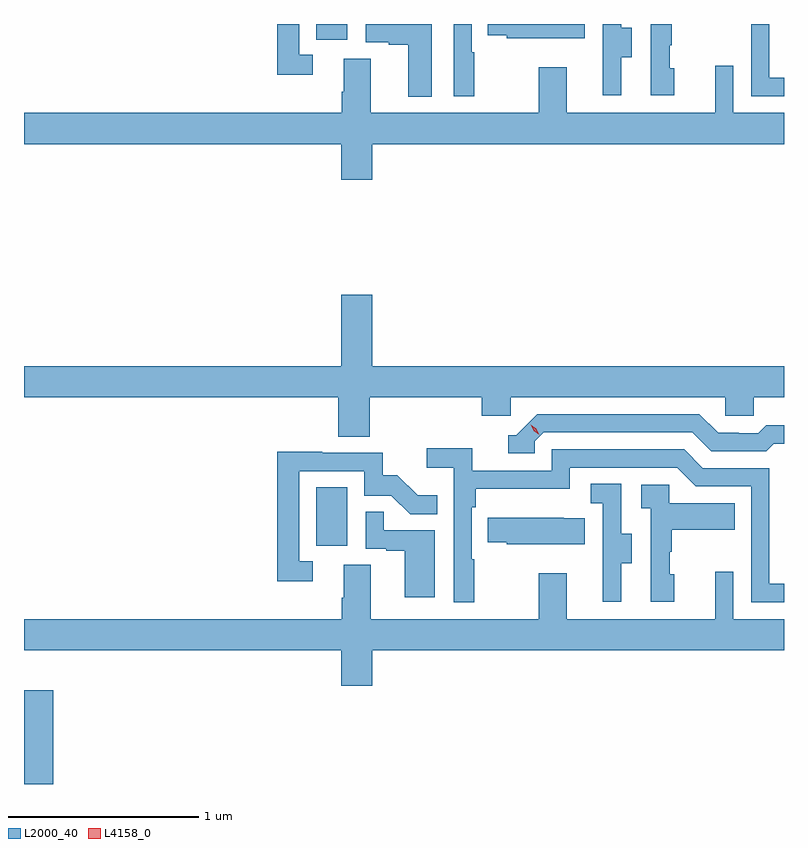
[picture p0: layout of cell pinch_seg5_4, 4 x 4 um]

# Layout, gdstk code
import gdstk
lib = gdstk.Library(unit=1e-6, precision=1e-09)
def R(c, l, rs):  # rectangles x0, y0, x1, y1
    for r in rs: c.add(gdstk.rectangle(r[:2], r[2:], *l))
def P(c, l, *ps):  # polygons
    for p in ps: c.add(gdstk.Polygon(p, *l))
L2000_40 = (2000, 40)
L4158_0 = (4158, 0)

pinch_seg5_4 = lib.new_cell('pinch_seg5_4')
R(pinch_seg5_4, L2000_40, [(1140.361,893.352,1140.514,893.845), (1141.898,894.606,1142.062,894.913), (1141.898,897.27,1142.062,897.352)])
P(pinch_seg5_4, L2000_40, [(1144.361,897.069),(1144.284,897.069),(1144.284,897.352),(1144.188,897.352),(1144.188,896.973),(1144.361,896.973)],
  [(1142.731,897.203),(1142.718,897.203),(1142.718,897.352),(1142.622,897.352),(1142.622,896.973),(1142.731,896.973)],
  [(1142.506,897.351),(1142.255,897.351),(1142.255,897.352),(1142.16,897.352),(1142.16,897.255),(1142.281,897.255),(1142.281,897.243),(1142.384,897.243),(1142.384,896.969),(1142.506,896.969)],
  [(1143.784,897.12),(1143.759,897.12),(1143.759,897.239),(1143.769,897.239),(1143.769,897.352),(1143.66,897.352),(1143.66,896.976),(1143.784,896.976)],
  [(1143.505,897.178),(1143.559,897.178),(1143.559,897.333),(1143.504,897.333),(1143.504,897.352),(1143.408,897.352),(1143.408,897.189),(1143.407,897.189),(1143.407,896.976),(1143.505,896.976)],
  [(1141.882,897.189),(1141.809,897.189),(1141.809,897.352),(1141.693,897.352),(1141.693,897.084),(1141.882,897.084)],
  [(1143.311,897.352),(1142.803,897.352),(1142.803,897.292),(1142.901,897.292),(1142.901,897.278),(1143.311,897.278)],
  [(1142.194,896.72),(1144.361,896.72),(1144.361,896.884),(1144.095,896.884),(1144.095,897.133),(1143.998,897.133),(1143.998,896.884),(1143.217,896.884),(1143.217,897.124),(1143.07,897.124),(1143.07,896.884),(1142.185,896.884),(1142.185,897.17),(1142.045,897.17),(1142.045,896.996),(1142.033,896.996),(1142.033,896.884),(1140.361,896.884),(1140.361,896.72),(1142.03,896.72),(1142.03,896.532),(1142.194,896.532)],
  [(1142.18,895.388),(1142.771,895.388),(1142.771,895.29),(1142.922,895.29),(1142.922,895.388),(1144.053,895.388),(1144.053,895.29),(1144.203,895.29),(1144.203,895.388),(1144.361,895.388),(1144.361,895.552),(1142.194,895.552),(1142.194,895.927),(1142.03,895.927),(1142.03,895.552),(1140.361,895.552),(1140.361,895.388),(1142.015,895.388),(1142.015,895.18),(1142.18,895.18)],
  [(1143.048,895.155),(1143.096,895.203),(1143.879,895.203),(1143.978,895.104),(1144.267,895.104),(1144.306,895.143),(1144.361,895.143),(1144.361,895.24),(1144.267,895.24),(1144.225,895.197),(1144.122,895.197),(1144.122,895.2),(1144.015,895.2),(1143.916,895.299),(1143.063,895.299),(1142.952,895.188),(1142.909,895.188),(1142.909,895.092),(1143.048,895.092)],
  [(1142.731,894.536),(1142.718,894.536),(1142.718,894.809),(1142.738,894.809),(1142.738,894.905),(1143.234,894.905),(1143.234,895.017),(1143.798,895.017),(1143.897,894.918),(1144.188,894.918),(1144.188,894.309),(1144.361,894.309),(1144.361,894.405),(1144.284,894.405),(1144.284,895.014),(1143.934,895.014),(1143.835,895.113),(1143.138,895.113),(1143.138,895.002),(1142.72,895.002),(1142.72,895.118),(1142.481,895.118),(1142.481,895.016),(1142.622,895.016),(1142.622,894.309),(1142.731,894.309)],
  [(1141.882,894.525),(1141.809,894.525),(1141.809,894.999),(1142.151,894.999),(1142.151,894.87),(1142.295,894.87),(1142.393,894.772),(1142.537,894.772),(1142.537,894.871),(1142.433,894.871),(1142.326,894.978),(1142.25,894.978),(1142.25,895.095),(1141.931,895.095),(1141.931,895.1),(1141.693,895.1),(1141.693,894.42),(1141.882,894.42)],
  [(1143.505,894.514),(1143.559,894.514),(1143.559,894.669),(1143.504,894.669),(1143.504,894.932),(1143.345,894.932),(1143.345,894.829),(1143.408,894.829),(1143.408,894.525),(1143.407,894.525),(1143.407,894.312),(1143.505,894.312)],
  [(1143.784,894.456),(1143.759,894.456),(1143.759,894.575),(1143.769,894.575),(1143.769,894.689),(1144.103,894.689),(1144.103,894.829),(1143.756,894.829),(1143.756,894.927),(1143.609,894.927),(1143.609,894.803),(1143.66,894.803),(1143.66,894.312),(1143.784,894.312)],
  [(1142.524,894.687),(1142.255,894.687),(1142.255,894.785),(1142.16,894.785),(1142.16,894.591),(1142.267,894.591),(1142.267,894.579),(1142.366,894.579),(1142.366,894.336),(1142.524,894.336)],
  [(1143.311,894.751),(1143.203,894.751),(1143.203,894.754),(1142.803,894.754),(1142.803,894.625),(1142.901,894.625),(1142.901,894.614),(1143.311,894.614)],
  [(1142.194,894.056),(1144.361,894.056),(1144.361,894.22),(1144.095,894.22),(1144.095,894.469),(1143.998,894.469),(1143.998,894.22),(1143.217,894.22),(1143.217,894.46),(1143.07,894.46),(1143.07,894.22),(1142.185,894.22),(1142.185,894.506),(1142.045,894.506),(1142.045,894.332),(1142.033,894.332),(1142.033,894.22),(1140.361,894.22),(1140.361,894.056),(1142.03,894.056),(1142.03,893.868),(1142.194,893.868)])
P(pinch_seg5_4, L4158_0, [(1143.073,895.19),(1143.043,895.21),(1143.027,895.243),(1143.027,895.243),(1143.027,895.243),(1143.058,895.223),(1143.073,895.19),(1143.073,895.19)])

lib.write_gds('pinch_seg5_4.gds')
